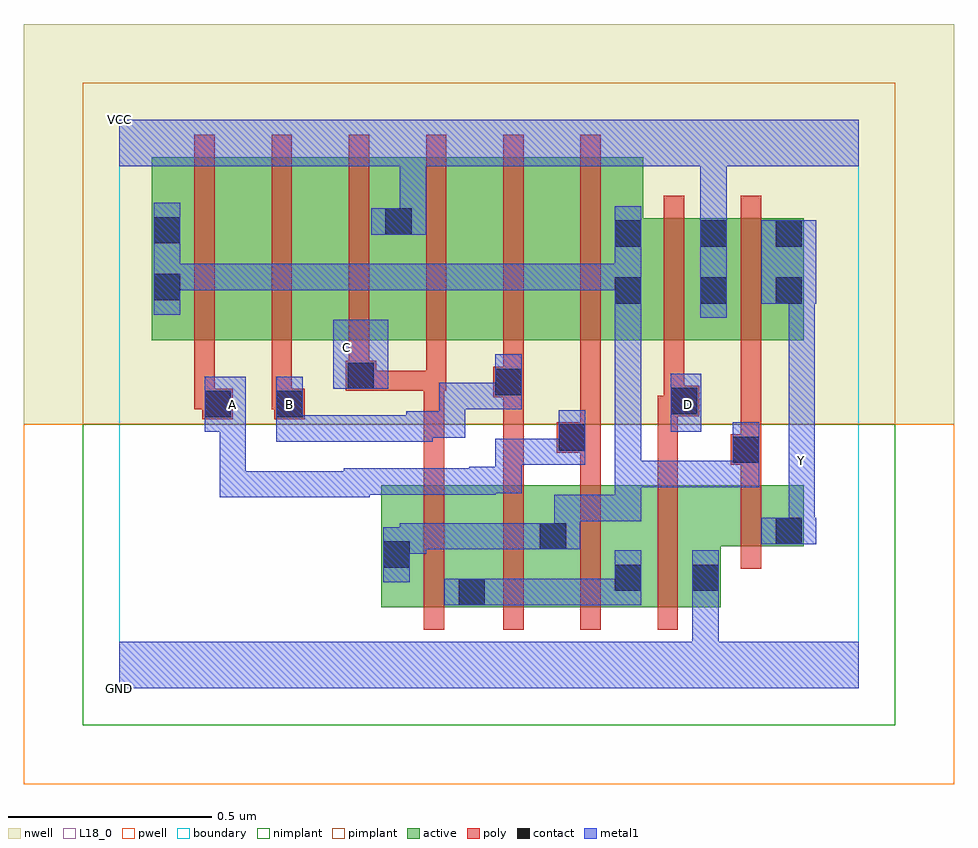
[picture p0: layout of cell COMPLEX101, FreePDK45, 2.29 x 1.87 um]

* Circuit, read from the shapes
.subckt COMPLEX101 A B C D GND VCC Y
M1 n1 C n2 VSUBS nfet w=0.3u l=0.05u
M2 n2 B n1 VSUBS nfet w=0.3u l=0.05u
M3 n1 A n2 VSUBS nfet w=0.3u l=0.05u
M4 GND D n1 VSUBS nfet w=0.3u l=0.05u
M5 Y n2 GND VSUBS nfet w=0.15u l=0.05u
M6 n3 A n2 n4 pfet w=0.45u l=0.05u
M7 n5 B n3 n4 pfet w=0.45u l=0.05u
M8 VCC C n5 n4 pfet w=0.45u l=0.05u
M9 n6 C VCC n4 pfet w=0.45u l=0.05u
M10 n7 B n6 n4 pfet w=0.45u l=0.05u
M11 n2 A n7 n4 pfet w=0.45u l=0.05u
M12 VCC D n2 n4 pfet w=0.3u l=0.05u
M13 Y n2 VCC n4 pfet w=0.3u l=0.05u
.ends

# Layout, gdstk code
import gdstk
lib = gdstk.Library(unit=1e-6, precision=1e-09)
def R(c, l, rs):  # rectangles x0, y0, x1, y1
    for r in rs: c.add(gdstk.rectangle(r[:2], r[2:], *l))
def A(c, l, x, y, w, h, nx, ny, dx, dy):  # array of equal rectangles
    R(c, l, [(x+i*dx, y+j*dy, x+i*dx+w, y+j*dy+h) for i in range(nx) for j in range(ny)])
active = (1, 0)
pwell = (2, 0)
nwell = (3, 0)
nimplant = (4, 0)
pimplant = (5, 0)
poly = (9, 0)
contact = (10, 0)
metal1 = (11, 0)
L18_0 = (18, 0)
boundary = (235, 0)

complex101 = lib.new_cell('COMPLEX101')
R(complex101, active, [(0.645,0.2,0.72,0.5), (0.645,0.2,0.905,0.5), (0.83,0.2,0.905,0.392), (0.83,0.2,1.105,0.5), (1.03,0.2,1.29,0.5), (1.215,0.2,1.48,0.5), (1.215,0.2,1.29,0.392), (1.405,0.2,1.48,0.5), (1.03,0.295,1.105,0.412), (1.405,0.35,1.685,0.5), (1.61,0.35,1.685,0.5), (0.08,0.857,0.155,1.2), (0.08,0.857,0.305,1.307), (0.305,0.857,0.495,1.307), (0.495,0.857,0.725,1.307), (0.65,0.857,0.875,1.307), (0.65,0.857,0.725,1.187), (0.875,0.857,1.065,1.307), (1.065,0.857,1.29,1.307), (1.215,0.857,1.5,1.157), (1.215,0.857,1.29,1.2), (1.425,0.857,1.5,1.157), (1.425,0.857,1.685,1.157), (1.61,0.857,1.685,1.157)])
R(complex101, pwell, [(-0.235,-0.235,2.055,0.65)])
R(complex101, nwell, [(-0.235,0.65,2.055,1.635)])
R(complex101, nimplant, [(-0.09,-0.09,1.91,0.65)])
R(complex101, pimplant, [(-0.09,0.65,1.91,1.49)])
A(complex101, poly, 0.945, 0.145, 0.05, 0.41, 3, 1, 0.19, 0)
A(complex101, poly, 0.185, 0.802, 0.05, 0.56, 6, 1, 0.19, 0)
R(complex101, poly, [(0.75,0.145,0.8,0.555), (1.53,0.295,1.58,0.555), (0.75,0.505,0.8,0.782), (0.945,0.505,0.995,0.767), (1.135,0.505,1.185,0.63), (1.325,0.505,1.375,0.72), (1.53,0.505,1.58,0.6), (1.505,0.55,1.58,0.625), (1.53,0.575,1.58,0.852), (1.53,0.575,1.58,0.625), (1.53,0.575,1.58,0.625), (1.077,0.58,1.185,0.655), (1.135,0.605,1.185,0.655), (1.135,0.605,1.185,0.655), (1.135,0.605,1.185,0.852), (0.205,0.662,0.28,0.737), (0.382,0.662,0.457,0.737), (1.325,0.67,1.39,0.72), (1.34,0.67,1.39,0.72), (1.34,0.67,1.427,0.745), (0.185,0.687,0.235,0.852), (0.185,0.687,0.255,0.737), (0.205,0.687,0.255,0.737), (0.375,0.687,0.425,0.852), (0.375,0.687,0.432,0.737), (0.382,0.687,0.432,0.737), (1.34,0.695,1.39,0.852), (0.92,0.717,0.995,0.792), (0.557,0.732,0.632,0.807), (0.582,0.732,0.632,0.782), (0.582,0.732,0.632,0.782), (0.582,0.732,0.8,0.782), (0.75,0.732,0.8,0.782), (0.75,0.732,0.8,0.782), (0.75,0.732,0.805,0.782), (0.755,0.732,0.805,0.852), (0.945,0.742,0.995,0.792), (0.945,0.742,0.995,0.792), (0.945,0.742,0.995,0.852), (0.565,0.757,0.615,0.852), (1.34,0.802,1.39,1.212), (1.53,0.802,1.58,1.212)])
R(complex101, contact, [(0.835,0.205,0.9,0.27), (1.22,0.24,1.285,0.305), (1.41,0.24,1.475,0.305), (0.65,0.297,0.715,0.362), (1.035,0.342,1.1,0.407), (1.615,0.355,1.68,0.42), (1.51,0.555,1.575,0.62), (1.082,0.585,1.147,0.65), (0.21,0.667,0.275,0.732), (0.387,0.667,0.452,0.732), (1.357,0.675,1.422,0.74), (0.925,0.722,0.99,0.787), (0.562,0.737,0.627,0.802), (1.22,0.947,1.285,1.012), (1.43,0.947,1.495,1.012), (1.615,0.947,1.68,1.012), (0.085,0.955,0.15,1.02), (1.22,1.087,1.285,1.152), (1.43,1.087,1.495,1.152), (1.615,1.087,1.68,1.152), (0.085,1.095,0.15,1.16), (0.655,1.117,0.72,1.182)])
R(complex101, metal1, [(0,0,1.82,0.115), (1.41,0.05,1.475,0.115), (1.41,0.05,1.475,0.115), (1.41,0.05,1.475,0.27), (0.8,0.205,0.935,0.27), (0.87,0.205,0.935,0.27), (0.87,0.205,0.935,0.27), (0.87,0.205,1.147,0.27), (1.082,0.205,1.147,0.27), (1.082,0.205,1.147,0.27), (1.082,0.205,1.147,0.27), (1.082,0.205,1.285,0.27), (1.22,0.205,1.285,0.34), (1.41,0.205,1.475,0.34), (0.65,0.262,0.715,0.397), (0.65,0.332,0.755,0.397), (0.69,0.332,0.755,0.407), (0.69,0.342,0.927,0.407), (0.862,0.342,0.927,0.407), (0.862,0.342,0.927,0.407), (0.862,0.342,0.927,0.407), (0.862,0.342,1.065,0.407), (1,0.342,1.135,0.407), (1.07,0.342,1.135,0.407), (1.07,0.342,1.135,0.477), (1.58,0.355,1.715,0.42), (1.647,0.355,1.712,0.557), (1.07,0.412,1.285,0.477), (1.22,0.412,1.285,0.477), (1.22,0.412,1.285,0.477), (1.22,0.412,1.285,0.56), (0.247,0.47,0.312,0.535), (0.247,0.47,0.452,0.535), (0.247,0.47,0.312,0.697), (0.387,0.47,0.452,0.535), (0.387,0.47,0.452,0.535), (0.387,0.47,0.452,0.535), (0.387,0.47,0.617,0.535), (0.552,0.47,0.617,0.535), (0.552,0.47,0.617,0.535), (0.552,0.47,0.617,0.542), (0.552,0.477,0.772,0.542), (0.707,0.477,0.772,0.542), (0.707,0.477,0.927,0.542), (0.862,0.477,0.927,0.545), (0.862,0.48,0.99,0.545), (0.925,0.48,0.99,0.615), (1.647,0.492,1.712,0.627), (1.22,0.495,1.285,0.56), (1.22,0.495,1.285,0.56), (1.22,0.495,1.285,0.56), (1.22,0.495,1.285,0.56), (1.22,0.495,1.437,0.56), (1.22,0.495,1.285,0.977), (1.372,0.495,1.437,0.56), (1.372,0.495,1.437,0.56), (1.372,0.495,1.437,0.56), (1.372,0.495,1.575,0.56), (1.51,0.495,1.575,0.655), (0.925,0.55,1.147,0.615), (1.082,0.55,1.147,0.615), (1.082,0.55,1.147,0.615), (1.082,0.55,1.147,0.615), (1.082,0.55,1.147,0.615), (1.082,0.55,1.147,0.685), (1.647,0.562,1.712,1.012), (1.647,0.562,1.712,0.627), (1.647,0.562,1.712,0.627), (0.387,0.607,0.59,0.672), (0.387,0.607,0.452,0.697), (0.525,0.607,0.59,0.672), (0.525,0.607,0.59,0.672), (0.525,0.607,0.59,0.672), (0.525,0.607,0.772,0.672), (0.707,0.607,0.772,0.682), (0.707,0.617,0.852,0.682), (0.787,0.617,0.852,0.752), (0.21,0.632,0.312,0.767), (0.247,0.632,0.312,0.697), (0.247,0.632,0.312,0.697), (0.387,0.632,0.452,0.697), (0.387,0.632,0.452,0.767), (1.357,0.632,1.432,0.775), (0.787,0.687,0.99,0.752), (0.925,0.687,0.99,0.822), (0.527,0.737,0.662,0.907), (1.22,0.912,1.285,1.187), (1.43,0.912,1.495,1.187), (0.085,0.92,0.15,1.195), (1.58,0.947,1.715,1.152), (0.085,0.98,0.315,1.045), (0.25,0.98,0.315,1.045), (0.25,0.98,0.315,1.045), (0.25,0.98,0.315,1.045), (0.25,0.98,0.452,1.045), (0.387,0.98,0.452,1.045), (0.387,0.98,0.452,1.045), (0.387,0.98,0.452,1.045), (0.387,0.98,0.617,1.045), (0.552,0.98,0.617,1.045), (0.552,0.98,0.617,1.045), (0.552,0.98,0.617,1.045), (0.552,0.98,0.762,1.045), (0.697,0.98,0.762,1.045), (0.697,0.98,0.91,1.045), (0.845,0.98,0.91,1.045), (0.845,0.98,0.91,1.045), (0.845,0.98,0.91,1.045), (0.845,0.98,1.147,1.045), (1.082,0.98,1.147,1.045), (1.082,0.98,1.285,1.045), (1.22,0.98,1.285,1.045), (1.22,0.98,1.285,1.045), (0.62,1.117,0.755,1.182), (0.69,1.117,0.755,1.35), (1.43,1.122,1.495,1.35), (0,1.285,1.82,1.4), (1.43,1.285,1.495,1.35), (1.43,1.285,1.495,1.35)])
R(complex101, L18_0, [(0,0,1.82,0.115), (1.41,0.05,1.475,0.115), (1.41,0.05,1.475,0.115), (1.41,0.05,1.475,0.27), (1.41,0.205,1.475,0.34), (1.58,0.355,1.715,0.42), (1.647,0.355,1.712,0.557), (0.247,0.47,0.312,0.535), (0.247,0.47,0.312,0.697), (0.247,0.47,0.452,0.535), (0.387,0.47,0.452,0.535), (0.387,0.47,0.452,0.535), (0.387,0.47,0.452,0.535), (0.387,0.47,0.617,0.535), (0.552,0.47,0.617,0.535), (0.552,0.47,0.617,0.535), (0.552,0.47,0.617,0.542), (0.552,0.477,0.772,0.542), (0.707,0.477,0.772,0.542), (0.707,0.477,0.927,0.542), (0.862,0.477,0.927,0.545), (0.862,0.48,0.99,0.545), (0.925,0.48,0.99,0.615), (1.647,0.492,1.712,0.627), (1.647,0.527,1.712,0.592), (0.925,0.55,1.147,0.615), (1.082,0.55,1.147,0.615), (1.082,0.55,1.147,0.615), (1.082,0.55,1.147,0.615), (1.082,0.55,1.147,0.615), (1.082,0.55,1.147,0.685), (1.647,0.562,1.712,0.627), (1.647,0.562,1.712,0.627), (1.647,0.562,1.712,1.012), (0.387,0.607,0.452,0.697), (0.387,0.607,0.59,0.672), (0.525,0.607,0.59,0.672), (0.525,0.607,0.59,0.672), (0.525,0.607,0.59,0.672), (0.525,0.607,0.772,0.672), (0.707,0.607,0.772,0.682), (0.707,0.617,0.852,0.682), (0.787,0.617,0.852,0.752), (0.21,0.632,0.312,0.767), (0.247,0.632,0.312,0.697), (0.247,0.632,0.312,0.697), (0.387,0.632,0.452,0.697), (0.387,0.632,0.452,0.767), (1.357,0.632,1.432,0.775), (0.247,0.667,0.312,0.732), (0.387,0.667,0.452,0.732), (1.367,0.667,1.432,0.732), (0.787,0.687,0.99,0.752), (0.925,0.687,0.99,0.822), (0.527,0.737,0.662,0.907), (0.527,0.807,0.592,0.872), (1.43,0.912,1.495,1.187), (1.58,0.947,1.715,1.152), (0.62,1.117,0.755,1.182), (0.69,1.117,0.755,1.35), (1.43,1.122,1.495,1.35), (0,1.285,1.82,1.4), (1.43,1.285,1.495,1.35), (1.43,1.285,1.495,1.35)])
R(complex101, boundary, [(0,0,1.82,1.4)])
complex101.add(gdstk.Label('A', (0.28,0.7), layer=11, texttype=0))
complex101.add(gdstk.Label('B', (0.42,0.7), layer=11, texttype=0))
complex101.add(gdstk.Label('C', (0.56,0.84), layer=11, texttype=0))
complex101.add(gdstk.Label('D', (1.4,0.7), layer=11, texttype=0))
complex101.add(gdstk.Label('Y', (1.68,0.56), layer=11, texttype=0))
complex101.add(gdstk.Label('VCC', (0,1.4), layer=11, texttype=0))
complex101.add(gdstk.Label('GND', (0,0), layer=11, texttype=0))

lib.write_gds('COMPLEX101.gds')
